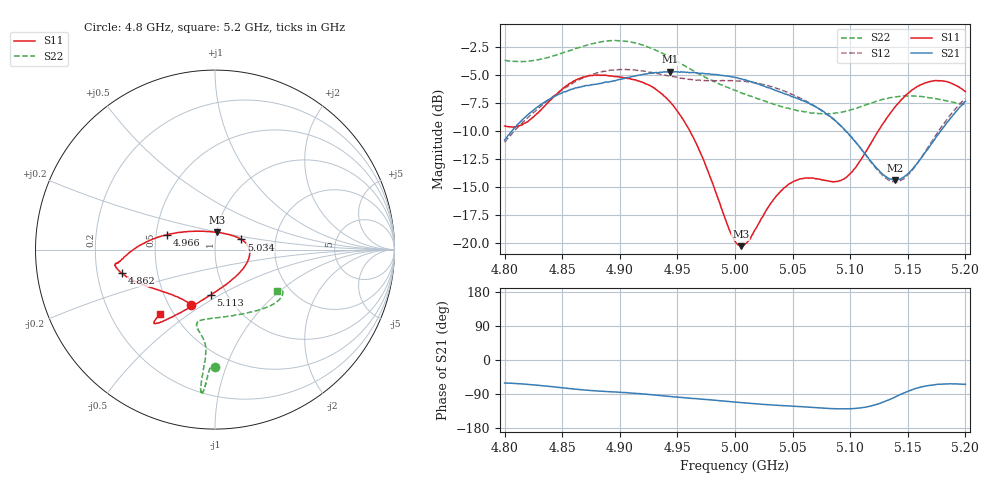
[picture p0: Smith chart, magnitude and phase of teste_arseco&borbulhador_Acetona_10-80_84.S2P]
! Network Analyzer HP8722D
! Hewlett-Packard
! Data name: Linha & Wilkinson
! Saver's name: Rodrigo Anjos
! Comments: Teste da utilização de aquisição
! continua pelo VNA HP8722D
! Time and date: 17/4/2025 15:03
!  Frequency  S11  S21  S12  S22
# HZ  S  MA R 50
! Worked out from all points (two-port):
!   401 points, 4.8 GHz to 5.2 GHz, reference 50 ohm
!   highest |S21| = -4.68 dB at 4.944 GHz (marker M1); lowest = -14.4 dB at 5.139 GHz (marker M2)
!   |S21| within 3 dB of the highest: 4.831 GHz to 5.067 GHz (236.8 MHz wide, 4.79 % of centre); 5.196812 GHz to end of sweep
!   lowest |S11| = -20.3 dB at 5.005 GHz (marker M3), VSWR 1.21, Z = 50.1 + j9.71 ohm
!   |S11| at or under -10 dB: 4.961 GHz to 5.124 GHz (163.3 MHz wide, 3.24 % of centre)
!   |S22| runs from -8.5 to -1.9 dB; largest |S21 - S12| = 0.88
!   S11 on the Smith chart (normalised r, x): 4.8 GHz: 0.65, -0.45; 4.862 GHz: 0.31, -0.11; 4.966 GHz: 0.57, +0.10; 5.034 GHz: 1.33, +0.16; 5.113 GHz: 0.84, -0.45; 5.2 GHz: 0.42, -0.39
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4.8e9  0.3332 -113.3  0.2887 -60.8  0.2818 -175.1  0.6564 -90.1
4.819e9  0.3465 -133.3  0.3701 -64.0  0.3585 -173.6  0.6509 -91.6
4.862e9  0.5364 -165.7  0.4942 -77.0  0.5291 -176.8  0.7426 -93.9
4.867e9  0.5485 -167.6  0.5007 -78.7  0.5437 -177.9  0.7561 -94.0
4.9e9  0.5534 -172.2  0.5395 -85.3  0.597 175.5  0.8023 -95.4
4.934e9  0.4756 -178.2  0.5789 -93.7  0.5717 171.8  0.7159 -95.8
4.944e9  0.4262 177.3  0.5834 -96.3  0.5562 171.9  0.6742 -95.6
4.966e9  0.2805 163.0  0.5771 -102.0  0.5348 173.7  0.5799 -95.0
5e9  0.1017 102.0  0.5499 -111.1  0.5319 176.0  0.4811 -99.3
5.005e9  0.09661 84.2  0.5428 -112.4  0.5291 176.2  0.4698 -100.4
5.012e9  0.1026 61.6  0.5297 -114.2  0.5239 175.9  0.4565 -101.9
5.034e9  0.1575 21.1  0.4841 -119.2  0.4961 175.0  0.4164 -103.6
5.049e9  0.1859 5.7  0.4518 -121.6  0.4626 174.1  0.3976 -99.9
5.067e9  0.195 -13.5  0.4145 -124.9  0.4167 173.7  0.3809 -90.7
5.093e9  0.1917 -57.7  0.3299 -128.8  0.3276 174.2  0.3849 -70.6
5.113e9  0.253 -95.2  0.2495 -124.7  0.2494 179.9  0.4138 -54.9
5.134e9  0.3754 -116.3  0.1938 -104.6  0.1902 -157.4  0.446 -42.9
5.139e9  0.406 -119.4  0.1911 -97.7  0.1879 -149.5  0.45 -40.8
5.152e9  0.4749 -124.7  0.2085 -80.4  0.2058 -129.6  0.4544 -36.0
5.17e9  0.5287 -128.8  0.2746 -66.4  0.28 -112.5  0.4457 -32.0
5.184e9  0.526 -130.1  0.3456 -63.0  0.3568 -107.1  0.432 -31.0
5.2e9  0.4748 -130.5  0.4296 -64.3  0.4427 -106.5  0.4151 -33.4
